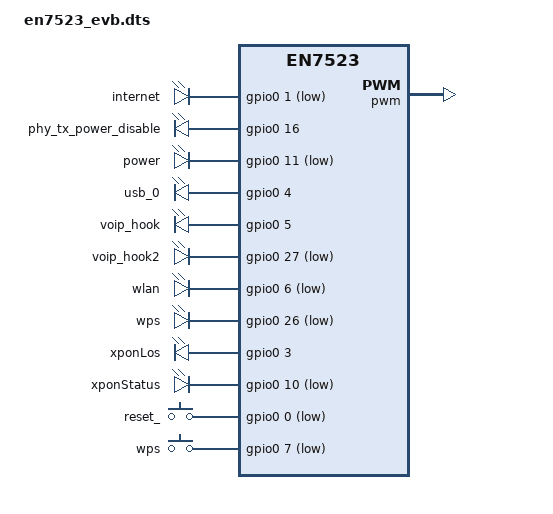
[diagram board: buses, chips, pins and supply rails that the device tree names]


#include <dt-bindings/interrupt-controller/irq.h>
#include <dt-bindings/interrupt-controller/arm-gic.h>
#include <dt-bindings/gpio/gpio.h>
#include <dt-bindings/input/input.h>

/dts-v1/;

#include "en7523.dtsi"
#include "en7523_kernel_api.dtsi"

/ {
	compatible = "econet,en7523", "airoha,en7523";
	#address-cells = <1>;
	#size-cells = <1>;

	gpio0: gpio@1fbf0200 {
		compatible = "airoha,airoha-gpio";
		gpio_base = <0>;
		reg = <0x1fbf0204 0x4>,
		      <0x1fbf0200 0x4>,
		      <0x1fbf0220 0x4>,
		      <0x1fbf0214 0x4>;
		gpio-controller;
		#gpio-cells = <2>;
	};

	gpio1: gpio@1fbf0270 {
		compatible = "airoha,airoha-gpio";
		gpio_base = <32>;
		reg = <0x1fbf0270 0x4>,
		      <0x1fbf0260 0x4>,
		      <0x1fbf0264 0x4>,
		      <0x1fbf0278 0x4>;
		gpio-controller;
		#gpio-cells = <2>;
	};
	
	pwm: pwm@1fbf0234{
		compatible = "airoha,airoha-pwm";
		reg = <0x1fbf0234 0x20>,
		      <0x1fbf0268 0x4>,
		      <0x1fbf0298 0x24>;
	};

	leds {
		compatible = "gpio-leds";

		internet {
			label = "internet";
			gpios = <&gpio0 1 GPIO_ACTIVE_LOW>;
			linux,default-trigger = "timer";
		};
		phy_tx_power_disable {
			label = "phy_tx_power_disable";
			gpios = <&gpio0 16 GPIO_ACTIVE_HIGH>;
			linux,default-trigger = "timer";
		};
		power {
			label = "power";
			gpios = <&gpio0 11 GPIO_ACTIVE_LOW>;
			linux,default-trigger = "timer";
		};
		usb_0 {
			label = "usb_0";
			gpios = <&gpio0 4 GPIO_ACTIVE_HIGH>;
			linux,default-trigger = "timer";
		};
		voip_hook {
			label = "voip_hook";
			gpios = <&gpio0 5 GPIO_ACTIVE_HIGH>;
			linux,default-trigger = "timer";
		};
		voip_hook2 {
			label = "voip_hook2";
			gpios = <&gpio0 27 GPIO_ACTIVE_LOW>;
			linux,default-trigger = "timer";
		};
		wlan {
			label = "wlan";
			gpios = <&gpio0 6 GPIO_ACTIVE_LOW>;
			linux,default-trigger = "timer";
		};
		wps {
			label = "wps";
			gpios = <&gpio0 26 GPIO_ACTIVE_LOW>;
			linux,default-trigger = "timer";
		};
		xponLos {
			label = "xponLos";
			gpios = <&gpio0 3 GPIO_ACTIVE_HIGH>;
			linux,default-trigger = "timer";
		};
		
		xponStatus {
			label = "xponStatus";
			gpios = <&gpio0 10 GPIO_ACTIVE_LOW>;
			linux,default-trigger = "timer";
		};
	};
	
	gpio-keys-polled {
		compatible = "gpio-keys-polled";
		poll-interval = <100>;
		
		reset_ {
			label = "reset_";
			linux,code = <BTN_0>;
			gpios = <&gpio0 0 GPIO_ACTIVE_LOW>;
		};
		
		wps {
			label = "wps";
			linux,code = <KEY_WPS_BUTTON>;
			gpios = <&gpio0 7 GPIO_ACTIVE_LOW>;
		};
	};


	partitions {
		compatible = "fixed-partitions";
		#address-cells = <1>;
		#size-cells = <1>;

		bootloader@0 {
			label = "bootloader";
			reg = <0x00000000 0x00080000>;
		};
		tclinux@80000 {
			label = "tclinux";
			reg = <0x00080000 0x02800000>;
		};
		tclinux_slave@2880000 {
			label = "tclinux_slave";
			reg = <0x02880000 0x02800000>;
		};		
		rootfs_data@5080000 {
			label = "rootfs_data";
			reg = <0x05080000 0x00800000>;
		};
		art@de80000 {
			label = "art";
			//art is located in flash end. if reg offset != ffffffff, it represents the actual offset
			//else offset = flash_logic_size-reg_size(drivers/mtd/maps/tc3162-flash.c)
			reg = <0xffffffff 0x00380000>;
		};
	};
	
};
